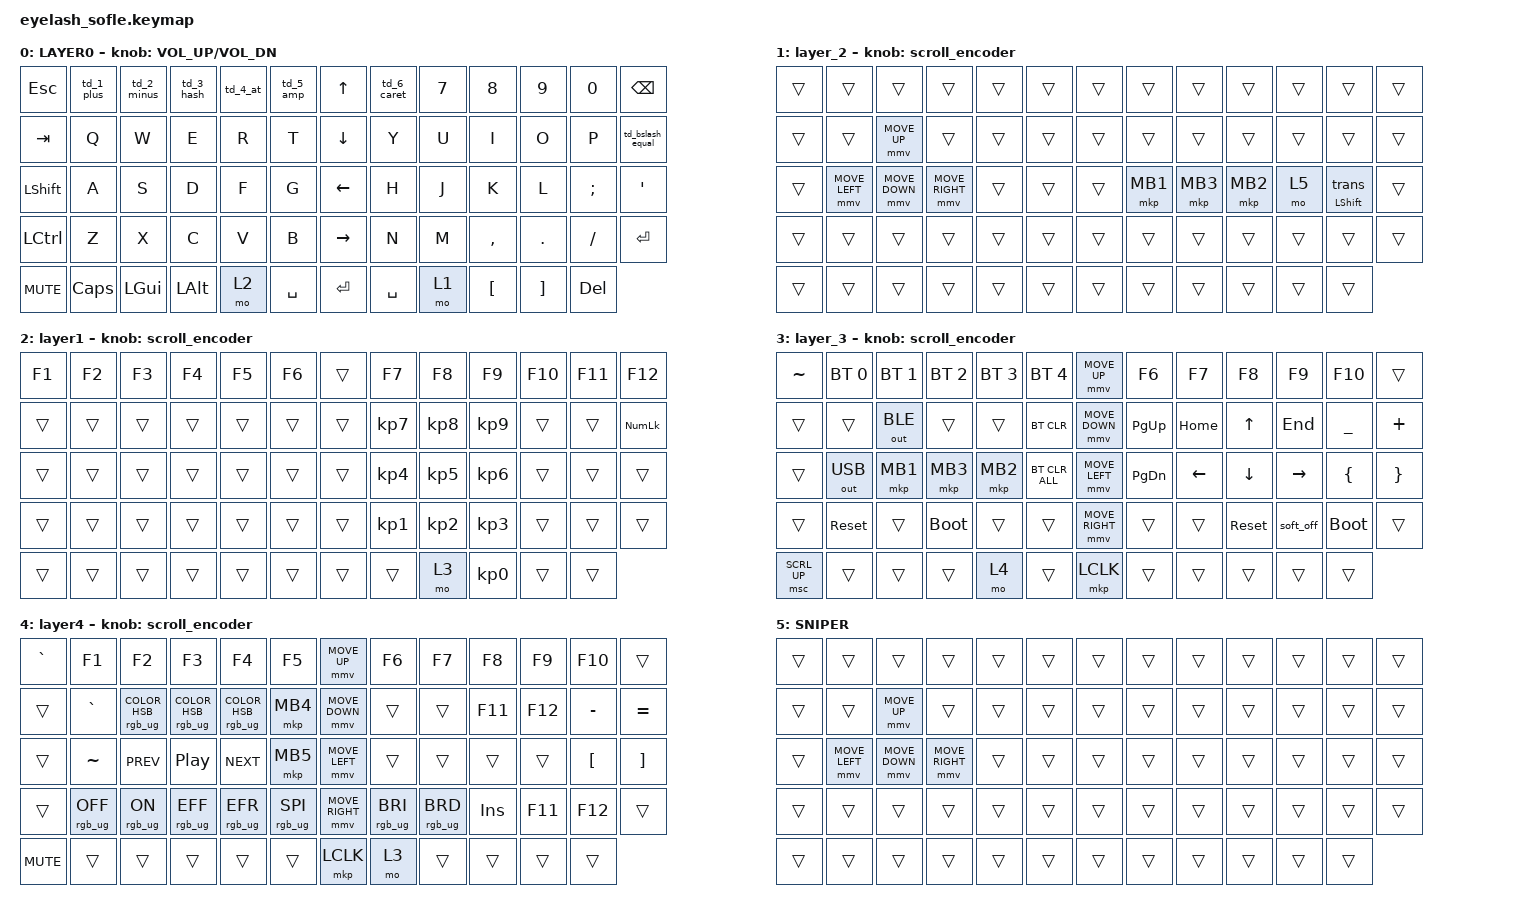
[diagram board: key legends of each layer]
#define ZMK_POINTING_DEFAULT_MOVE_VAL 1600  // 800
#define ZMK_POINTING_DEFAULT_SCRL_VAL 25   // 10

#include <input/processors.dtsi>
#include <zephyr/dt-bindings/input/input-event-codes.h>
#include <behaviors.dtsi>
#include <dt-bindings/zmk/bt.h>
#include <dt-bindings/zmk/keys.h>
#include <dt-bindings/zmk/outputs.h>
#include <dt-bindings/zmk/pointing.h>
#include <dt-bindings/zmk/rgb.h>

&led_strip {
    chain-length = <63>; // Ставим реальное число клавиш (примерно)
};

/* Настройка слушателя для мыши */
/* &mmv_input_listener {
    input-processors = <&zip_xy_scaler 1 1>; // Скорость по умолчанию
}; */
/* Настройка для снайперского режима на слое 5 */

&mmv_input_listener {
    input-processors = <&zip_xy_scaler 1 1>;

    /* Если слой 5 активен, делим скорость на 4 */
    /* Важно: индекс слоя 5 должен соответствовать вашему layer_5 */

    sniper_mode {
        layers = <5>;
        input-processors = <&zip_xy_scaler 1 4>;
    };
};

&msc_input_listener { input-processors = <&zip_scroll_scaler 2 1>; };

&msc {
    acceleration-exponent = <1>;      // 0
    time-to-max-speed-ms = <100>;       // 300
    delay-ms = <0>;                   // 0
};

&mmv {
    time-to-max-speed-ms = <500>;
    acceleration-exponent = <1>;
    trigger-period-ms = <16>;
};

&soft_off { hold-time-ms = <2000>; };

/ {
    scroll_encoder: scroll_encoder {
        compatible = "zmk,behavior-sensor-rotate";
        #sensor-binding-cells = <0>;
        bindings = <&msc SCRL_DOWN>, <&msc SCRL_UP>;

        tap-ms = <100>;
    };

    behaviors {

        slow_mouse: slow_mouse {
            compatible = "zmk,behavior-pointing-move-input";
            label = "SLOW_MOUSE";
            #binding-cells = <1>;
            x-input-code = <INPUT_REL_X>;
            y-input-code = <INPUT_REL_Y>;
            time-to-max-speed-ms = <1200>;
            acceleration-exponent = <0>;
        };

        td_1_plus: td_1_plus {
            compatible = "zmk,behavior-tap-dance";
            label = "TD_1_PLUS";
            #binding-cells = <0>;
            tapping-term-ms = <200>;
            bindings = <&kp N1>, <&kp PLUS>;
        };

        // 1 тап: 2, 2 тапа: - (на месте клавиши 2)

        td_2_minus: td_2_minus {
            compatible = "zmk,behavior-tap-dance";
            label = "TD_2_MINUS";
            #binding-cells = <0>;
            tapping-term-ms = <200>;
            bindings = <&kp N2>, <&kp MINUS>;
        };

        // 1 тап: 3, 2 тапа: # (решетка на цифре 3, как ты просил)

        td_3_hash: td_3_hash {
            compatible = "zmk,behavior-tap-dance";
            label = "TD_3_HASH";
            #binding-cells = <0>;
            tapping-term-ms = <200>;
            bindings = <&kp N3>, <&kp HASH>;
        };

        // 1 тап: 4, 2 тапа: @ (собачка)

        td_4_at: td_4_at {
            compatible = "zmk,behavior-tap-dance";
            label = "TD_4_AT";
            #binding-cells = <0>;
            tapping-term-ms = <200>;
            bindings = <&kp N4>, <&kp AT>;
        };

        // Дополнительно: амперсанд и карет (можешь поставить на 5 и 6 или куда удобно)

        td_5_amp: td_5_amp {
            compatible = "zmk,behavior-tap-dance";
            label = "TD_5_AMP";
            #binding-cells = <0>;
            tapping-term-ms = <200>;
            bindings = <&kp N5>, <&kp AMPERSAND>;
        };

        td_6_caret: td_6_caret {
            compatible = "zmk,behavior-tap-dance";
            label = "TD_6_CARET";
            #binding-cells = <0>;
            tapping-term-ms = <200>;
            bindings = <&kp N6>, <&kp CARET>;
        };

        td_bslash_equal: td_bslash_equal {
            compatible = "zmk,behavior-tap-dance";
            label = "TDEQ7";
            #binding-cells = <0>;
            bindings = <&kp BSLH>, <&kp EQUAL>;
        };

        sh_trans: shift_trans {
            compatible = "zmk,behavior-hold-tap";
            label = "SHIFT_TRANS";
            #binding-cells = <2>;
            tapping-term-ms = <200>;
            flavor = "hold-preferred";
            bindings = <&kp>, <&trans>; // Здесь магия: первое значение — модификатор, второе — прозрачность
        };

        // Создаем поведение: при нажатии на Caps Lock отправляем команду и меняем цвет
        cp_rgb: caps_lock_rgb {
            compatible = "zmk,behavior-mod-morph";
            label = "CAPS_RGB";
            #binding-cells = <0>;
            bindings = <&kp CLCK>, <&rgb_ug RGB_COLOR_HSB(120,100,50)>; // Зеленый для теста
            mods = <(MOD_LSFT|MOD_RSFT)>;
        };
    };

    combos {
        compatible = "zmk,combos";

        softoff {
            bindings = <&soft_off>;
            key-positions = <14 28 40>;
        };

        printScreen {
            bindings = <&kp PRINTSCREEN>;
            key-positions = <24 25>;
        };

        tilde {
            bindings = <&kp TILDE>;
            key-positions = <0 1>;
        };
    };

    macros {
        SHIFT_MCLK: SHIFT_MCLK {
            compatible = "zmk,behavior-macro";
            #binding-cells = <0>;
            bindings =
                <&macro_press>,
                <&kp LEFT_SHIFT>,
                <&macro_press>,
                <&mkp MB3>,
                <&macro_pause_for_release>,
                <&macro_release>,
                <&kp LEFT_SHIFT &mkp MB3>;

            label = "SHIFT_MCLK";
        };
    };

    keymap {
        compatible = "zmk,keymap";

        layer0 {
            bindings = <
&kp ESC         &td_1_plus  &td_2_minus   &td_3_hash    &td_4_at  &td_5_amp    &kp UP_ARROW     &td_6_caret  &kp N7  &kp N8            &kp N9             &kp N0      &kp BACKSPACE
&kp TAB         &kp Q       &kp W         &kp E         &kp R     &kp T        &kp DOWN_ARROW   &kp Y        &kp U   &kp I             &kp O              &kp P       &td_bslash_equal
&kp LEFT_SHIFT  &kp A       &kp S         &kp D         &kp F     &kp G        &kp LEFT_ARROW   &kp H        &kp J   &kp K             &kp L              &kp SEMI    &kp APOS
&kp LCTRL       &kp Z       &kp X         &kp C         &kp V     &kp B        &kp RIGHT_ARROW  &kp N        &kp M   &kp COMMA         &kp DOT            &kp FSLH    &kp ENTER
&kp C_MUTE      &kp CLCK     &kp LEFT_GUI  &kp LEFT_ALT  &mo 2     &kp SPACE    &kp ENTER        &kp SPACE    &mo 1   &kp LEFT_BRACKET  &kp RIGHT_BRACKET  &kp DELETE
            >;

            sensor-bindings = <&inc_dec_kp C_VOLUME_UP C_VOL_DN>;
            display-name = "LAYER0";
        };

        layer_2 {
            bindings = <
&trans  &trans          &trans          &trans           &trans  &trans    &trans  &trans    &trans    &trans    &trans  &trans  &trans
&trans  &trans          &mmv MOVE_UP    &trans           &trans  &trans    &trans  &trans    &trans    &trans    &trans  &trans  &trans
&trans  &mmv MOVE_LEFT  &mmv MOVE_DOWN  &mmv MOVE_RIGHT  &trans  &trans    &trans  &mkp MB1  &mkp MB3  &mkp MB2  &mo 5   &sh_trans LSHIFT 0  &trans
&trans  &trans          &trans          &trans           &trans  &trans    &trans  &trans    &trans    &trans    &trans  &trans  &trans
&trans  &trans          &trans          &trans           &trans  &trans    &trans  &trans    &trans    &trans    &trans  &trans
            >;

            sensor-bindings = <&scroll_encoder>;
        };

        layer_1 {
            bindings = <
&kp F1  &kp F2  &kp F3  &kp F4  &kp F5  &kp F6    &trans  &kp F7           &kp F8           &kp F9           &kp F10  &kp F11  &kp F12
&trans  &trans  &trans  &trans  &trans  &trans    &trans  &kp KP_NUMBER_7  &kp KP_NUMBER_8  &kp KP_NUMBER_9  &trans   &trans   &kp KP_NUMLOCK
&trans  &trans  &trans  &trans  &trans  &trans    &trans  &kp KP_NUMBER_4  &kp KP_NUMBER_5  &kp KP_NUMBER_6  &trans   &trans   &trans
&trans  &trans  &trans  &trans  &trans  &trans    &trans  &kp KP_NUMBER_1  &kp KP_NUMBER_2  &kp KP_NUMBER_3  &trans   &trans   &trans
&trans  &trans  &trans  &trans  &trans  &trans    &trans  &trans           &mo 3            &kp KP_NUMBER_0  &trans   &trans
            >;

            label = "layer1";
            sensor-bindings = <&scroll_encoder>;
        };

        layer_3 {
            bindings = <
&kp TILDE     &bt BT_SEL 0  &bt BT_SEL 1  &bt BT_SEL 2  &bt BT_SEL 3  &bt BT_SEL 4      &mmv MOVE_UP     &kp F6     &kp F7    &kp F8      &kp F9     &kp F10      &trans
&trans        &trans        &out OUT_BLE  &trans        &trans        &bt BT_CLR        &mmv MOVE_DOWN   &kp PG_UP  &kp HOME  &kp UP      &kp END    &kp UNDER    &kp PLUS
&trans        &out OUT_USB  &mkp MB1      &mkp MB3      &mkp MB2      &bt BT_CLR_ALL    &mmv MOVE_LEFT   &kp PG_DN  &kp LEFT  &kp DOWN    &kp RIGHT  &kp LBRC     &kp RBRC
&trans        &sys_reset    &trans        &bootloader   &trans        &trans            &mmv MOVE_RIGHT  &trans     &trans    &sys_reset  &soft_off  &bootloader  &trans
&msc SCRL_UP  &trans        &trans        &trans        &mo 4         &trans            &mkp LCLK        &trans     &trans    &trans      &trans     &trans
            >;

            sensor-bindings = <&scroll_encoder>;
        };

        layer_4 {
            bindings = <
&kp GRAVE   &kp F1           &kp F2                           &kp F3                             &kp F4                             &kp F5             &mmv MOVE_UP     &kp F6           &kp F7           &kp F8      &kp F9   &kp F10           &trans
&trans      &kp GRAVE        &rgb_ug RGB_COLOR_HSB(0,100,50)  &rgb_ug RGB_COLOR_HSB(110,100,50)  &rgb_ug RGB_COLOR_HSB(211,100,50)  &mkp MB4           &mmv MOVE_DOWN   &trans           &trans           &kp F11     &kp F12  &kp MINUS         &kp EQUAL
&trans      &kp TILDE        &kp C_PREV                       &kp C_PLAY_PAUSE                   &kp C_NEXT                         &mkp MB5           &mmv MOVE_LEFT   &trans           &trans           &trans      &trans   &kp LEFT_BRACKET  &kp RIGHT_BRACKET
&trans      &rgb_ug RGB_OFF  &rgb_ug RGB_ON                   &rgb_ug RGB_EFF                    &rgb_ug RGB_EFR                    &rgb_ug RGB_SPI    &mmv MOVE_RIGHT  &rgb_ug RGB_BRI  &rgb_ug RGB_BRD  &kp INSERT  &kp F11  &kp F12           &trans
&kp C_MUTE  &trans           &trans                           &trans                             &trans                             &trans             &mkp LCLK        &mo 3            &trans           &trans      &trans   &trans
            >;

            display-name = "layer4";
            sensor-bindings = <&scroll_encoder>;
        };

        layer_5 {
            display-name = "SNIPER";
            bindings = <
&trans  &trans          &trans          &trans           &trans  &trans    &trans  &trans  &trans  &trans  &trans  &trans  &trans
&trans  &trans          &mmv MOVE_UP    &trans           &trans  &trans    &trans  &trans  &trans  &trans  &trans  &trans  &trans
&trans  &mmv MOVE_LEFT  &mmv MOVE_DOWN  &mmv MOVE_RIGHT  &trans  &trans    &trans  &trans  &trans  &trans  &trans  &trans  &trans
&trans  &trans          &trans          &trans           &trans  &trans    &trans  &trans  &trans  &trans  &trans  &trans  &trans
&trans  &trans          &trans          &trans           &trans  &trans    &trans  &trans  &trans  &trans  &trans  &trans
            >;
        };
    };
};
